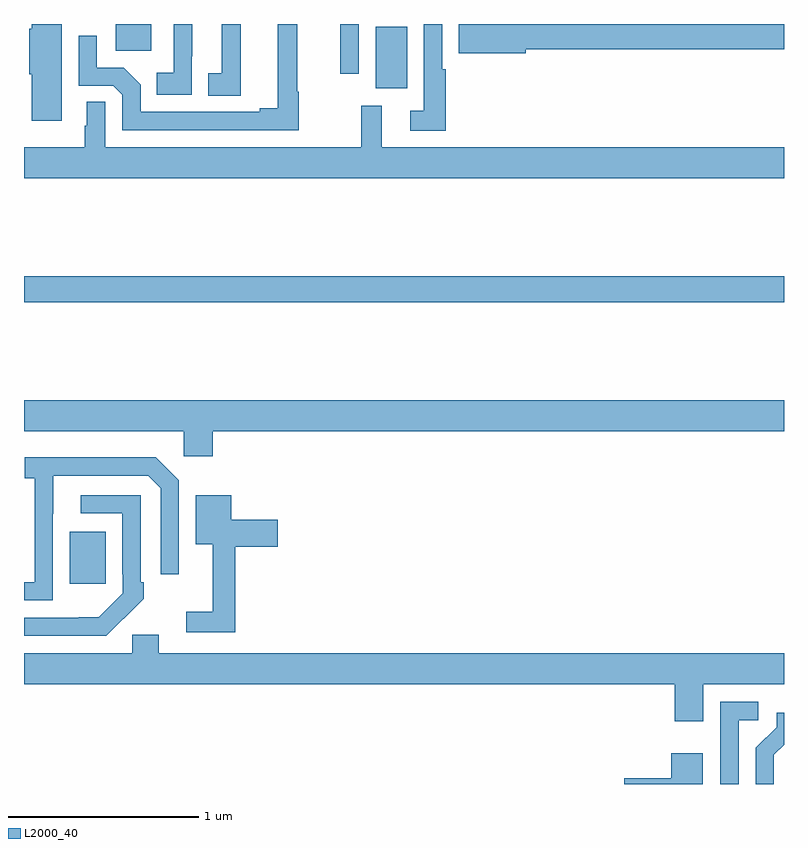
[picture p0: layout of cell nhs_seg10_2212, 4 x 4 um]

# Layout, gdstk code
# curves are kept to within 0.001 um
import gdstk
lib = gdstk.Library(unit=1e-6, precision=1e-09)
def R(c, l, rs):  # rectangles x0, y0, x1, y1
    for r in rs: c.add(gdstk.rectangle(r[:2], r[2:], *l))
def P(c, l, *ps):  # polygons
    for p in ps: c.add(gdstk.Polygon(p, *l))
L2000_40 = (2000, 40)

nhs_seg10_2212 = lib.new_cell('nhs_seg10_2212')
R(nhs_seg10_2212, L2000_40, [(229.241,1259.553,229.429,1259.827), (229,1261.036,233,1261.172), (230.852,1262.163,231.016,1262.486), (230.665,1262.238,230.763,1262.5), (229.484,1262.36,229.669,1262.5)])
P(nhs_seg10_2212, L2000_40, [(229.884,1262.33),(229.885,1262.33),(229.885,1262.5),(229.788,1262.5),(229.788,1262.243),(229.699,1262.243),(229.699,1262.127),(229.884,1262.127)],
  [(229.198,1262.5),(229.04,1262.5),(229.04,1262.474),(229.028,1262.474),(229.028,1262.236),(229.04,1262.236),(229.04,1261.992),(229.198,1261.992)],
  [(231.64,1262.368),(233,1262.368),(233,1262.5),(231.288,1262.5),(231.288,1262.345),(231.64,1262.345)],
  [(230.141,1262.5),(230.042,1262.5),(230.042,1262.241),(229.969,1262.241),(229.969,1262.122),(230.141,1262.122)],
  [(231.221,1262.261),(231.201,1262.261),(231.201,1262.5),(231.105,1262.5),(231.105,1262.043),(231.033,1262.043),(231.033,1261.938),(231.221,1261.938)],
  [(230.447,1262.144),(230.437,1262.144),(230.437,1262.5),(230.336,1262.5),(230.336,1262.057),(230.24,1262.057),(230.24,1262.037),(229.614,1262.037),(229.614,1262.181),(229.524,1262.271),(229.383,1262.271),(229.383,1262.437),(229.287,1262.437),(229.287,1262.175),(229.47,1262.175),(229.518,1262.127),(229.518,1261.941),(230.447,1261.941)],
  [(233,1261.852),(230.884,1261.852),(230.884,1262.071),(230.775,1262.071),(230.775,1261.852),(229.428,1261.852),(229.428,1262.09),(229.331,1262.09),(229.331,1261.965),(229.32,1261.965),(229.32,1261.852),(229,1261.852),(229,1261.688),(233,1261.688)],
  [(229.994,1260.356),(233,1260.356),(233,1260.52),(229,1260.52),(229,1260.356),(229.842,1260.356),(229.842,1260.225),(229.994,1260.225)],
  [(229.152,1259.923),(229.153,1260.123),(229.653,1260.123),(229.719,1260.057),(229.719,1259.604),(229.815,1259.604),(229.815,1260.099),(229.694,1260.22),(229.005,1260.22),(229.005,1260.11),(229.056,1260.11),(229.056,1259.562),(229,1259.562),(229,1259.466),(229.152,1259.466)],
  [(229.523,1259.371),(229.524,1259.37),(229.629,1259.475),(229.629,1259.563),(229.614,1259.563),(229.614,1260.021),(229.299,1260.021),(229.299,1259.925),(229.518,1259.925),(229.518,1259.605),(229.521,1259.605),(229.521,1259.505),(229.393,1259.377),(229,1259.376),(229,1259.28),(229.432,1259.28)],
  [(230.111,1259.75),(230.335,1259.75),(230.335,1259.892),(230.092,1259.892),(230.092,1260.019),(229.904,1260.019),(229.904,1259.762),(229.994,1259.762),(229.994,1259.407),(229.854,1259.407),(229.854,1259.298),(230.111,1259.298)],
  [(232.576,1259.024),(233,1259.024),(233,1259.188),(229.708,1259.188),(229.708,1259.286),(229.569,1259.286),(229.569,1259.188),(229,1259.188),(229,1259.024),(232.424,1259.024),(232.424,1258.83),(232.576,1258.83)],
  [(232.761,1258.836),(232.864,1258.836),(232.864,1258.932),(232.665,1258.932),(232.665,1258.5),(232.761,1258.5)],
  [(232.947,1258.653),(233,1258.706),(233,1258.876),(232.961,1258.876),(232.961,1258.8),(232.851,1258.69),(232.851,1258.5),(232.947,1258.5)],
  [(232.573,1258.663),(232.406,1258.663),(232.406,1258.529),(232.158,1258.529),(232.158,1258.5),(232.573,1258.5)])

lib.write_gds('nhs_seg10_2212.gds')
